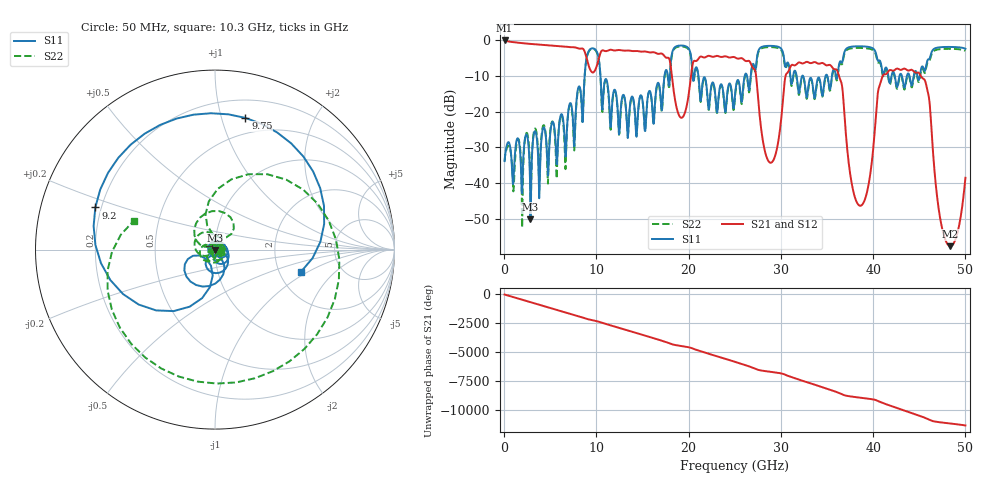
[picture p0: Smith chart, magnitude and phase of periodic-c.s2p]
# Hz S RI R 50.0
!freq ReS11 ImS11 ReS21 ImS21 ReS12 ImS12 ReS22 ImS22
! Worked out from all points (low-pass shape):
!   1000 points, 50 MHz to 50 GHz, reference 50 ohm
!   highest |S21| = -0.18 dB at 50 MHz (marker M1); lowest = -57.5 dB at 48.35 GHz (marker M2)
!   |S21| within 3 dB of the highest: start of sweep to 8.712 GHz; 10.54 GHz to 14.56 GHz (4.019 GHz wide, 32 % of centre)
!   lowest |S11| = -50.0 dB at 2.85 GHz (marker M3), VSWR 1.01, Z = 50.3 - j0.19 ohm
!   |S11| at or under -10 dB: start of sweep to 8.728 GHz; 10.44 GHz to 17.39 GHz (6.949 GHz wide, 49.9 % of centre); 21.05 GHz to 26.09 GHz (5.033 GHz wide, 21.4 % of centre)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
!   |S22| runs from -52.3 to -1.9 dB; largest |S21 - S12| = 1.3e-14
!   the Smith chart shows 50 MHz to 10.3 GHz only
!   S11 on the Smith chart (normalised r, x): 50 MHz: 1.04, -0.00; 9.2 GHz: 0.18, +0.17; 9.75 GHz: 0.35, +1.20; 10.3 GHz: 2.65, -0.86
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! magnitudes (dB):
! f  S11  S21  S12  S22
! 50 MHz  -33.8  -0.2  -0.2  -33.8
! 2.85 GHz  -50.0  -1.1  -1.1  -42.3
! 8.4 GHz  -17.9  -2.4  -2.4  -18.0
! 9.2 GHz  -3.0  -7.5  -7.5  -3.2
! 9.75 GHz  -2.5  -8.9  -8.9  -2.6
! 10.3 GHz  -6.1  -4.9  -4.9  -6.4
! 13.4 GHz  -27.4  -3.0  -3.0  -26.7
! 16.7 GHz  -12.0  -3.9  -3.9  -12.2
! 19.2 GHz  -1.6  -21.7  -21.7  -1.9
! 20.7 GHz  -8.4  -5.9  -5.9  -8.7
! 25.05 GHz  -14.8  -4.9  -4.9  -15.2
! 27.1 GHz  -7.3  -8.1  -8.1  -7.7
! 28.9 GHz  -1.7  -34.3  -34.3  -2.0
! 30.7 GHz  -6.3  -9.2  -9.2  -6.8
! 33.35 GHz  -11.2  -6.5  -6.5  -11.6
! 36.35 GHz  -6.4  -10.5  -10.5  -6.9
! 38.6 GHz  -1.8  -46.3  -46.3  -2.3
! 41.7 GHz  -11.0  -8.6  -8.6  -11.5
! 45.65 GHz  -8.5  -11.6  -11.6  -9.0
! 47.2 GHz  -2.1  -48.7  -48.7  -2.6
! 48.35 GHz  -2.0  -57.5  -57.5  -2.5
! 50 GHz  -2.5  -38.4  -38.4  -3.1
